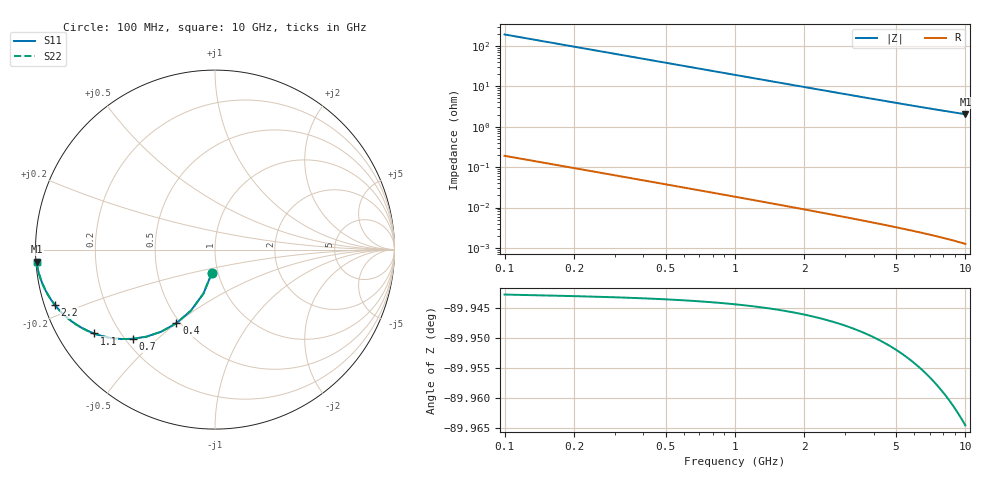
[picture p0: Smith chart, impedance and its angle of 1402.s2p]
# Hz S RI R 50.00
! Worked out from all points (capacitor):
!   100 points, 100 MHz to 10 GHz, reference 50 ohm
!   read as one part in shunt: C = 8.33 pF near 100 MHz
!   lowest |Z| = 2.04 ohm at 10 GHz (marker M1)
!   S11 on the Smith chart (normalised r, x): 100 MHz: 0.94, -0.24; 400 MHz: 0.48, -0.50; 700 MHz: 0.23, -0.42; 1.1 GHz: 0.11, -0.31; 2.2 GHz: 0.03, -0.17; 10 GHz: 0.00, -0.03
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1e8  -0.0169 -0.1286  0.983 -0.1287  0.983 -0.1287  -0.0169 -0.1286
2e8  -0.0643 -0.2447  0.9356 -0.245  0.9356 -0.245  -0.0643 -0.2447
3e8  -0.1338 -0.3398  0.8662 -0.3401  0.8662 -0.3401  -0.1338 -0.3398
4e8  -0.2153 -0.4103  0.7846 -0.4108  0.7846 -0.4108  -0.2153 -0.4103
5e8  -0.2999 -0.4574  0.7 -0.4581  0.7 -0.4581  -0.2999 -0.4574
6e8  -0.3815 -0.4849  0.6185 -0.4856  0.6185 -0.4856  -0.3815 -0.4849
7e8  -0.4563 -0.4971  0.5437 -0.498  0.5437 -0.498  -0.4563 -0.4971
8e8  -0.5228 -0.4985  0.4771 -0.4995  0.4771 -0.4995  -0.5228 -0.4985
9e8  -0.581 -0.4923  0.419 -0.4935  0.419 -0.4935  -0.581 -0.4923
1.1e9  -0.6743 -0.4674  0.3257 -0.4688  0.3257 -0.4688  -0.6743 -0.4674
1.2e9  -0.7112 -0.4519  0.2887 -0.4534  0.2887 -0.4534  -0.7112 -0.4519
1.4e9  -0.7702 -0.4193  0.2298 -0.4211  0.2298 -0.4211  -0.7702 -0.4193
1.6e9  -0.814 -0.3876  0.186 -0.3896  0.186 -0.3896  -0.814 -0.3876
1.8e9  -0.847 -0.3583  0.1529 -0.3606  0.1529 -0.3606  -0.847 -0.3583
2.2e9  -0.8921 -0.3083  0.1079 -0.3111  0.1079 -0.3111  -0.8921 -0.3083
2.7e9  -0.9256 -0.2601  0.0743 -0.2636  0.0743 -0.2636  -0.9256 -0.2601
3.4e9  -0.9518 -0.2115  0.0482 -0.2159  0.0482 -0.2159  -0.9518 -0.2115
4.2e9  -0.9679 -0.173  0.0321 -0.1785  0.0321 -0.1785  -0.9679 -0.173
5.1e9  -0.978 -0.1427  0.0219 -0.1494  0.0219 -0.1494  -0.978 -0.1427
6.7e9  -0.9872 -0.1074  0.0127 -0.1162  0.0127 -0.1162  -0.9872 -0.1074
8.4e9  -0.9918 -0.0835  0.00803 -0.0946  0.00803 -0.0946  -0.9918 -0.0835
1e10  -0.9943 -0.0677  0.00558 -0.0812  0.00558 -0.0812  -0.9943 -0.0677
